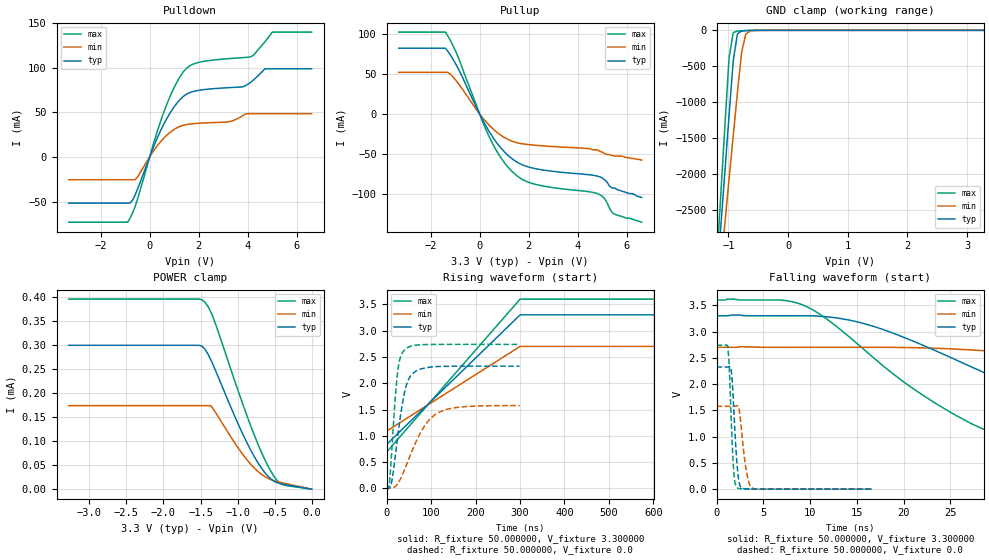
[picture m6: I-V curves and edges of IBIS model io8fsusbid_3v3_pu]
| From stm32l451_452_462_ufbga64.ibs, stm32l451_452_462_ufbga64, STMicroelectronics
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|   Model io8fsusbid_3v3_pu
[Model]  io8fsusbid_3v3_pu
Model_type I/O
Polarity   Non-Inverting
Enable   Active-Low
Vinl =   0.990000V
Vinh =   2.310000V
Vmeas =  1.650000V
Cref =   100.000000nF
Rref =   1.000000k
Vref =   3.300000V
C_comp   2.116400pF   2.092700pF   2.152900pF
[Temperature Range]   25.000000   0.125000k   -40.000000
[Pullup Reference]   3.300000V   2.700000V   3.600000V
[Pulldown Reference]   0.0V   0.0V   0.0V
[POWER Clamp Reference]   3.300000V   2.700000V   3.600000V
[GND Clamp Reference]   0.0V   0.0V   0.0V
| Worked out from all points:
|   slope of the pulldown table from 0 to 0.495 V, typ, clamps not added: 15.4 ohm
|   slope of the pullup table from 0 to 0.495 V, typ, clamps not added: 18.1 ohm
|   GND clamp passes 1 mA (typ) near -0.59 V on its own axis
|   rising waveform, R_fixture 50.000000, V_fixture 3.300000: 20-80 % time 180ns typ, 180ns min, 180ns max; typ from 0.836 V to 3.3 V
|   rising waveform, R_fixture 50.000000, V_fixture 0.0: 20-80 % time 23.9ns typ, 53.3ns min, 14.3ns max; typ from 0.001 V to 2.33 V
|   falling waveform, R_fixture 50.000000, V_fixture 3.300000: 20-80 % time 21ns typ, 41.6ns min, 13.6ns max; typ from 3.3 V to 0.836 V
|   falling waveform, R_fixture 50.000000, V_fixture 0.0: 20-80 % time 449ps typ, 626ps min, 371ps max; typ from 2.33 V to 0.001 V
[Pulldown]
|Voltage   I(typ)   I(min)   I(max)
-3.3V     -51.63mA   -25.53mA   -73.04mA
-900mV    -51.63mA   -25.53mA   -73.04mA
-500mV    -36.51mA   -22.79mA   -47.71mA
200mV     14.02mA    8.316mA    18.9mA
700mV     42.98mA    24.4mA     58.9mA
1.2V      63.06mA    33.8mA     88.14mA
1.6V      71.63mA    36.67mA    101.4mA
3.2V      77.51mA    39.29mA    110mA
4.1V      83.28mA    48.38mA    112mA
4.7V      98.63mA    48.38mA    129mA
5V        98.63mA    48.38mA    139.8mA
6.6V      98.63mA    48.43mA    139.8mA
[Pullup]
|Voltage   I(typ)   I(min)   I(max)
-3.3V     82.69mA    52.35mA    102.9mA
-1.4V     82.69mA    52.35mA    102.9mA
-900mV    58.56mA    39.63mA    73.37mA
100mV     -6.166mA   -3.962mA   -8.038mA
500mV     -27.53mA   -17.49mA   -35.6mA
1V        -47.29mA   -29.37mA   -60.81mA
1.5V      -60.05mA   -35.95mA   -77.15mA
2.4V      -69.45mA   -39.66mA   -89.34mA
4.8V      -78.1mA    -45mA      -100.1mA
5.1V      -83mA      -50mA      -106.7mA
5.5V      -93mA      -53mA      -126mA
6.6V      -105mA     -58mA      -136mA
[GND_clamp]
|Voltage   I(typ)   I(min)   I(max)
-3.3V     -9.914A    -9.595A    -9.188A
-1.2V     -3.541A    -3.911A    -3.279A
-1.13V    -2.75A     -3.295A    -2.301A
-1.06V    -1.963A    -2.68A     -1.33A
-990mV    -1.183A    -2.069A    -386.7mA
-920mV    -424.7mA   -1.463A    -31.42mA
-850mV    -49.12mA   -868.7mA   -10.48mA
-780mV    -9.121mA   -308.3mA   -6.715mA
-710mV    -3.648mA   -53.81mA   -3.986mA
-640mV    -1.726mA   -11.03mA   -1.885mA
-430mV    -22.46uA   -116.8uA   -9.748uA
3.28V     0A         0A         0A
[POWER_clamp]
|Voltage   I(typ)   I(min)   I(max)
-3.28V    299.3uA    173.7uA    395.4uA
-1.48V    297.5uA    173.7uA    393.9uA
-1.4V     281.3uA    173.7uA    380.3uA
-1.36V    268.9uA    173.7uA    368.3uA
-1.32V    255uA      164.8uA    353.1uA
-1.04V    152.4uA    96.77uA    226.2uA
-880mV    98.76uA    62.4uA     155.8uA
-720mV    53.77uA    36.12uA    92.05uA
-560mV    22.58uA    20.52uA    39.82uA
-480mV    14.4uA     16.42uA    20.64uA
-400mV    10.72uA    13.39uA    9.937uA
0V        0A         0A         0A
[Ramp]
| variable   typ   min   max
dV/dt_r  1.39450/23.89300n   0.94482/53.26837n   1.64288/14.28860n
dV/dt_f  1.47839/21.08553n   0.96684/44.67589n   1.74562/13.58476n
R_load = 50.000000
[Rising Waveform]
R_fixture= 50.000000
V_fixture= 3.300000
V_fixture_min= 2.700000
V_fixture_max= 3.600000
|time   V(typ)   V(min)   V(max)
0s        836mV      1.089V     690.6mV
300.3ns   3.3V       2.7V       3.6V
600.6ns   3.3V       2.7V       3.6V
29.73us   3.3V       2.7V       3.6V
[Rising Waveform]
R_fixture= 50.000000
V_fixture= 0.0
V_fixture_min= 0.0
V_fixture_max= 0.0
|time   V(typ)   V(min)   V(max)
0s        930.6uV    1.396mV    659.7uV
6.607ns   7.941mV    4.351mV    110.5mV
13.21ns   206.2mV    9.431mV    914.9mV
19.22ns   580.8mV    34.44mV    1.677V
25.23ns   994.9mV    89.16mV    2.222V
30.03ns   1.304V     160.4mV    2.459V
40.84ns   1.837V     365.3mV    2.638V
66.07ns   2.232V     882.7mV    2.724V
117.1ns   2.318V     1.443V     2.738V
299.1ns   2.325V     1.576V     2.739V
[Falling Waveform]
R_fixture= 50.000000
V_fixture= 3.300000
V_fixture_min= 2.700000
V_fixture_max= 3.600000
|time   V(typ)   V(min)   V(max)
0s        3.3V       2.7V       3.6V
9.61ns    3.3V       2.7V       3.476V
15.32ns   3.173V     2.7V       2.726V
24.62ns   2.538V     2.673V     1.504V
29.13ns   2.177V     2.627V     1.101V
33.93ns   1.823V     2.554V     903.7mV
44.44ns   1.231V     2.33V      781mV
54.65ns   1.023V     2.075V     737.6mV
90.99ns   869.5mV    1.322V     697.4mV
149.5ns   836mV      1.089V     690.6mV
[Falling Waveform]
R_fixture= 50.000000
V_fixture= 0.0
V_fixture_min= 0.0
V_fixture_max= 0.0
|time   V(typ)   V(min)   V(max)
0s        2.325V     1.576V     2.739V
1.201ns   2.325V     1.576V     2.692V
1.368ns   2.331V     1.576V     2.302V
1.535ns   2.294V     1.576V     1.489V
1.802ns   1.677V     1.576V     442.7mV
2.202ns   453.9mV    1.588V     30mV
2.569ns   46.7mV     1.305V     8.871mV
3.203ns   4.988mV    333.1mV    5.102mV
3.804ns   2.904mV    21.64mV    4.279mV
16.62ns   930.6uV    1.396mV    659.7uV
